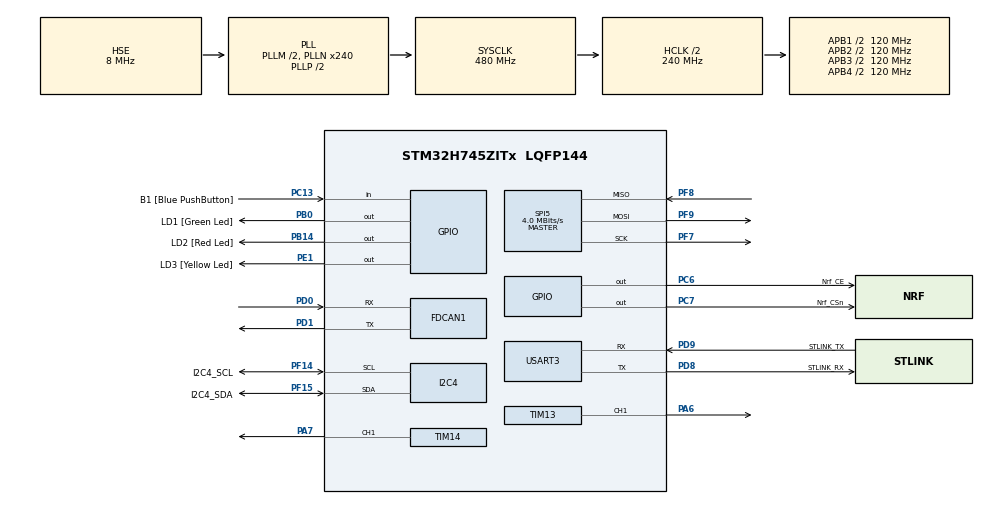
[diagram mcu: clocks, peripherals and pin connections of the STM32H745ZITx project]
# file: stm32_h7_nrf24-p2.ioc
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CortexM4.IPs=BDMA,CORTEX_M4\:I,DEBUG,DMA,FATFS_M4\:I,FREERTOS_M4\:I,GPIO,IWDG2\:I,MDMA,NVIC2\:I,OPENAMP_M4\:I,PDM2PCM_M4\:I,PWR,RCC,RESMGR_UTILITY,SYS_M4\:I,USB_DEVICE_M4\:I,USB_HOST_M4\:I,VREFBUF,WWDG2\:I,USART3
CortexM4.Pins=PE1
CortexM7.IPs=BDMA\:I,CORTEX_M7\:I,DEBUG\:I,DMA\:I,FATFS_M7\:I,FREERTOS_M7\:I,GPIO\:I,IWDG1\:I,MDMA\:I,NVIC1\:I,OPENAMP_M7\:I,PDM2PCM_M7\:I,PWR\:I,RCC\:I,RESMGR_UTILITY\:I,SYS\:I,USB_DEVICE_M7\:I,USB_HOST_M7\:I,VREFBUF\:I,WWDG1\:I,USART3\:I,I2C4\:I,SPI5\:I,TIM13\:I,TIM14\:I,FDCAN1\:I
CortexM7.Pins=PC13,PB0,PB14,PC6,PC7
FDCAN1.CalculateBaudRateNominal=500000
FDCAN1.CalculateTimeBitNominal=2000
FDCAN1.CalculateTimeQuantumNominal=50.0
FDCAN1.NominalPrescaler=2
FDCAN1.NominalSyncJumpWidth=8
FDCAN1.NominalTimeSeg1=0x1F
FDCAN1.NominalTimeSeg2=8
FDCAN1.RxFifo0ElmtsNbr=1
FDCAN1.StdFiltersNbr=1
FDCAN1.TxFifoQueueElmtsNbr=1
I2C4.Timing=0x00404C74
Mcu.Family=STM32H7
Mcu.Name=STM32H745ZITx
Mcu.Package=LQFP144
NVIC1.PriorityGroup=NVIC_PRIORITYGROUP_4
NVIC2.PriorityGroup=NVIC_PRIORITYGROUP_4
PA13\ (JTMS/SWDIO).Mode=Serial_Wire
PA13\ (JTMS/SWDIO).PinAttribute=CortexM7
PA13\ (JTMS/SWDIO).Signal=DEBUG_JTMS-SWDIO
PA14\ (JTCK/SWCLK).Mode=Serial_Wire
PA14\ (JTCK/SWCLK).PinAttribute=CortexM7
PA14\ (JTCK/SWCLK).Signal=DEBUG_JTCK-SWCLK
PA6.PinAttribute=CortexM7
PA6.Signal=S_TIM13_CH1
PA7.PinAttribute=CortexM7
PA7.Signal=S_TIM14_CH1
PB0.GPIO_Label=LD1 [Green Led]
PB0.PinAttribute=CortexM7
PB0.Signal=GPIO_Output
PB14.GPIO_Label=LD2 [Red Led]
PB14.PinAttribute=CortexM7
PB14.Signal=GPIO_Output
PB5.PinAttribute=CortexM7
PB5.Signal=SPI1_MOSI
PC13.GPIO_Label=B1 [Blue PushButton]
PC13.PinAttribute=CortexM7
PC13.Signal=GPIO_Input
PC14-OSC32_IN\ (OSC32_IN).Mode=LSE-External-Oscillator
PC14-OSC32_IN\ (OSC32_IN).PinAttribute=CortexM7
PC14-OSC32_IN\ (OSC32_IN).Signal=RCC_OSC32_IN
PC15-OSC32_OUT\ (OSC32_OUT).Mode=LSE-External-Oscillator
PC15-OSC32_OUT\ (OSC32_OUT).PinAttribute=CortexM7
PC15-OSC32_OUT\ (OSC32_OUT).Signal=RCC_OSC32_OUT
PC6.GPIO_Label=Nrf_CE
PC6.PinAttribute=CortexM7
PC6.Signal=GPIO_Output
PC7.GPIO_Label=Nrf_CSn
PC7.PinAttribute=CortexM7
PC7.Signal=GPIO_Output
PD0.GPIO_Speed=GPIO_SPEED_FREQ_VERY_HIGH
PD0.Mode=FDCAN_Activate
PD0.PinAttribute=CortexM7
PD0.Signal=FDCAN1_RX
PD1.GPIO_PuPd=GPIO_PULLUP
PD1.GPIO_Speed=GPIO_SPEED_FREQ_VERY_HIGH
PD1.Mode=FDCAN_Activate
PD1.PinAttribute=CortexM7
PD1.Signal=FDCAN1_TX
PD8.GPIO_Label=STLINK_RX
PD8.Mode=Asynchronous
PD8.PinAttribute=CortexM7
PD8.Signal=USART3_TX
PD9.GPIO_Label=STLINK_TX
PD9.Mode=Asynchronous
PD9.PinAttribute=CortexM7
PD9.Signal=USART3_RX
PE1.GPIO_Label=LD3 [Yellow Led]
PE1.PinAttribute=CortexM4
PE1.Signal=GPIO_Output
PF14.GPIO_Label=I2C4_SCL
PF14.Mode=I2C
PF14.PinAttribute=CortexM7
PF14.Signal=I2C4_SCL
PF15.GPIO_Label=I2C4_SDA
PF15.Mode=I2C
PF15.PinAttribute=CortexM7
PF15.Signal=I2C4_SDA
PF7.Mode=Full_Duplex_Master
PF7.PinAttribute=CortexM7
PF7.Signal=SPI5_SCK
PF8.Mode=Full_Duplex_Master
PF8.PinAttribute=CortexM7
PF8.Signal=SPI5_MISO
PF9.Mode=Full_Duplex_Master
PF9.PinAttribute=CortexM7
PF9.Signal=SPI5_MOSI
PH0-OSC_IN\ (PH0).Mode=HSE-External-Clock-Source
PH0-OSC_IN\ (PH0).PinAttribute=CortexM7
PH0-OSC_IN\ (PH0).Signal=RCC_OSC_IN
ProjectManager.HeapSize=M4-0x200,M7-0x200
ProjectManager.StackSize=M4-0x400,M7-0x400
ProjectManager.TargetToolchain=STM32CubeIDE
RCC.ADCFreq_Value=16125000
RCC.APB1Freq_Value=120000000
RCC.APB2Freq_Value=120000000
RCC.APB3Freq_Value=120000000
RCC.APB4Freq_Value=120000000
RCC.CortexFreq_Value=480000000
RCC.D1PPRE=RCC_APB3_DIV2
RCC.D2PPRE1=RCC_APB1_DIV2
RCC.D2PPRE2=RCC_APB2_DIV2
RCC.D3PPRE=RCC_APB4_DIV2
RCC.DIVM1=2
RCC.DIVM3=4
RCC.DIVN1=240
RCC.DIVN3=120
RCC.DIVQ1=24
RCC.DIVR3=12
RCC.HCLKFreq_Value=240000000
RCC.HPRE=RCC_HCLK_DIV2
RCC.HSE_VALUE=8000000
RCC.I2C4CLockSelection=RCC_I2C4CLKSOURCE_PLL3
RCC.PLLSourceVirtual=RCC_PLLSOURCE_HSE
RCC.SPI123CLockSelection=RCC_SPI123CLKSOURCE_CLKP
RCC.SYSCLKFreq_VALUE=480000000
RCC.SYSCLKSource=RCC_SYSCLKSOURCE_PLLCLK
RCC.Spi45ClockSelection=RCC_SPI45CLKSOURCE_HSI
RCC.USBFreq_Value=40000000
SH.S_TIM13_CH1.0=TIM13_CH1,PWM Generation1 CH1
SH.S_TIM14_CH1.0=TIM14_CH1,PWM Generation1 CH1
SPI5.BaudRatePrescaler=SPI_BAUDRATEPRESCALER_16
SPI5.CalculateBaudRate=4.0 MBits/s
SPI5.DataSize=SPI_DATASIZE_8BIT
SPI5.Direction=SPI_DIRECTION_2LINES
SPI5.Mode=SPI_MODE_MASTER
SPI5.VirtualType=VM_MASTER
SYS.userName=SYS_M7
TIM13.Channel=TIM_CHANNEL_1
TIM13.Period=19999
TIM13.Prescaler=239
TIM13.Pulse=1500
TIM14.Channel=TIM_CHANNEL_1
TIM14.Period=19999
TIM14.Prescaler=239
TIM14.Pulse=1500
USART3.VirtualMode-Asynchronous=VM_ASYNC
VP_SYS_M4_VS_Systick.Mode=SysTick
VP_TIM13_VS_ClockSourceINT.Mode=Enable_Timer
VP_TIM14_VS_ClockSourceINT.Mode=Enable_Timer
board=custom

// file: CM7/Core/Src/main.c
/* USER CODE BEGIN Header */
/**
 *IMPLEMENTACION
  **********
  * @file           : main.c
  * @brief          : Main program body
  **********
  * @attention
  *
  * Copyright (c) 2024 STMicroelectronics.
  * All rights reserved.
  *
  * This software is licensed under terms that can be found in the LICENSE file
  * in the root directory of this software component.
  * If no LICENSE file comes with this software, it is provided AS-IS.
  *
  **********
  */
/* USER CODE END Header */
#include "main.h"
#include <stdio.h>
#include "my_nrf24.h"
#include <stdbool.h>
#include <mpu6050.h>
#include "nRF24L01.h"

/* USER CODE BEGIN PD */

#ifndef HSEM_ID_0
#define HSEM_ID_0 (0U) /* HW semaphore 0 */
#define Nrf_CE GPIO_PIN_6  // Pin PC6 para NRF_CE
#define Nrf_CSn GPIO_PIN_7 // Pin PC7 para NRF_CSN
#endif
/* USER CODE END PD */

// Periféricos
FDCAN_HandleTypeDef hfdcan1;
I2C_HandleTypeDef hi2c4;
SPI_HandleTypeDef hspi5;
TIM_HandleTypeDef htim13;
TIM_HandleTypeDef htim14;
UART_HandleTypeDef huart3;

/* USER CODE BEGIN PV */

// NRF24L01
const uint64_t pipe_address = 0x11223344AALL;
char myRxDataNRF[50];
uint8_t bufferNRF[6];
char myAckPayload[32] = "Ack by STMF7!";
uint16_t coordX = 0;
uint16_t coordY = 0;
int16_t angle = 0;
uint16_t targetX = 100;
uint16_t targetY = 75;

// CAN
FDCAN_FilterTypeDef sFilterConfig;
FDCAN_TxHeaderTypeDef TxHeader;
FDCAN_RxHeaderTypeDef RxHeader;
uint8_t TxDataCAN[8] = {0};
uint8_t RxDataCAN[8];
uint8_t buzzer = 0; // Estado del buzzer
uint8_t Vuel = 0;
float vueltas = 0.0f;
bool direccion = false;

/* USER CODE END PV */

void SystemClock_Config(void);
static void MX_GPIO_Init(void);
static void MX_USART3_UART_Init(void);
static void MX_I2C4_Init(void);
static void MX_SPI5_Init(void);
static void MX_TIM13_Init(void);
static void MX_TIM14_Init(void);
static void MX_FDCAN1_Init(void);

/* USER CODE BEGIN PFP */

// Configuración y manejo del MPU6050
//void SetupMPU(void);

// Configuración y manejo del NRF24L01
void SetupNRF24(void);
void ProcessNRF24Data(void);

// Configuración y manejo del protocolo CAN
void ProcessCANMessage(void);
void SendCANMessage(uint8_t state);

// Control del motor y dirección
void SetupPWM(void);
void SetMotorSpeed(uint16_t pulseWidth);
void BrakeMotor(void);
void Turning_SetAngle(uint16_t angle);

// Rutinas de control
void RutaHardCoding(void);
void NRF24Motor(void);
void NRFMotorCAN(void);
void RPMCAN(void);
void RutaRPM(void);

/* USER CODE END PFP */

/* USER CODE BEGIN 0 */

/**
 * @brief Configuración inicial del MPU6050
 */
void SetupMPU(void) {
    mpu6050_init(&hi2c4, AD0_LOW, AFSR_2G, GFSR_250DPS, 0.98, 0.004);
//    MPU_calibrateAccel(&hi2c4, 1000); // Calibrar acelerómetro
//    MPU_calibrateGyro(&hi2c4, 1000);  // Calibrar giroscopio
}

/**
 * @brief Configuración inicial del NRF24L01
 */
void SetupNRF24(){
	NRF24_begin(GPIOC, Nrf_CSn_Pin, Nrf_CE_Pin, hspi5);
	nrf24_DebugUART_Init(huart3);
	NRF24_openReadingPipe(1, pipe_address);
	NRF24_setAutoAck(false);
	NRF24_setChannel(60);
	NRF24_setPayloadSize(32);
	NRF24_setDataRate(RF24_2MBPS);
	NRF24_enableDynamicPayloads();
	NRF24_enableAckPayload();
	printRadioSettings();
	NRF24_startListening();
	printf("Starting NRF24\r\n");
}

/**
 * @brief Procesa los datos recibidos por NRF24L01
 */
void ProcessNRF24Data() {
    char myRxData[50] = "";
    if (NRF24_available()) {
        NRF24_read(bufferNRF, 6);
        if (bufferNRF[0] == 0xFF && bufferNRF[1] == 0xFF) {
            snprintf(myRxData, 32, "Coordinates not found\r\n");
        }
        else {
        	coordX = (bufferNRF[0]<<8|bufferNRF[1]);
        	coordY = (bufferNRF[2]<<8|bufferNRF[3]);
        	angle  = (int16_t)(bufferNRF[4]<<8|bufferNRF[5]);
        	if (angle > 180) angle -= 360;
        	snprintf(myRxData, 32, "%u %u %d \r\n", coordX, coordY, angle);
        }
        NRF24_writeAckPayload(1, myAckPayload, 32);
        HAL_UART_Transmit(&huart3, (uint8_t *)myRxData, strlen(myRxData), 10);
    }
}

/**
 * @brief Procesa los mensajes recibidos por el protocolo CAN
 */
void ProcessCANMessage() {
    if (HAL_FDCAN_GetRxMessage(&hfdcan1, FDCAN_RX_FIFO0, &RxHeader, RxDataCAN) == HAL_OK) {
        //printf("\n\rSTM32 - Mensaje CAN recibido:\n\r");
        //printf("ID: 0x%lx, Longitud: %ld bytes\n\r", RxHeader.Identifier, RxHeader.DataLength >> 16);
        //printf("Datos: ");

        if (RxHeader.Identifier == 0x100) {
            //printf("\n\rMensaje recibido de Arduino: ");
        }
        for (uint8_t i = 0; i < 8; i++) {
            //printf("%02X ", RxDataCAN[i]);
        }

        if (RxDataCAN[4]==0x01){
        	buzzer = 1;
        }else{
        	buzzer = 0;
        }

        // Interpretar las vueltas como un float
		union {
			float valueFloat;
			uint8_t valueInt[4];
		} conversion;

		conversion.valueInt[0] = RxDataCAN[0];
		conversion.valueInt[1] = RxDataCAN[1];
		conversion.valueInt[2] = RxDataCAN[2];
		conversion.valueInt[3] = RxDataCAN[3];

		vueltas = conversion.valueFloat;

        //printf("\n\rSTM32 - Mensaje recibido correctamente.\n\r");

        HAL_GPIO_TogglePin(LD1_GPIO_Port, LD1_Pin); // Indicar recepción
        //printf("Vueltas: %.4f\n\r", vueltas);
    } else {
        //printf("Esperando mensajes CAN...\n\r");
    }
}

/**
 * @brief Envia los mensajes por protocolo CAN
 */
void SendCANMessage(uint8_t state){
	TxDataCAN[0] = state;
	if (HAL_FDCAN_AddMessageToTxFifoQ(&hfdcan1, &TxHeader, TxDataCAN) != HAL_OK) {
	        //printf("Error enviando mensaje CAN\r\n");
	    } else {

	    	//printf("Mensaje CAN enviado: Buzzer %s\r\n", state ? "Activado" : "Apagado");
	    }

    //printf("Contenido de TxDataCAN: ");
    for (int i = 0; i < 8; i++) { //  Asumir que el tamaño del mensaje es 8 bytes
        //printf("0x%02X ", TxDataCAN[i]);
    }
    //printf("\n\r");

}

/**
 * @brief Configuración inicial del PWM
 */
void SetupPWM(void) {
    // Iniciar el PWM en el canal 1 de TIM13
    if (HAL_TIM_PWM_Start(&htim13, TIM_CHANNEL_1) != HAL_OK) {
        Error_Handler(); // Error al iniciar PWM en TIM13
    }

    // Iniciar el PWM en el canal 1 de TIM14
    if (HAL_TIM_PWM_Start(&htim14, TIM_CHANNEL_1) != HAL_OK) {
        Error_Handler(); // Error al iniciar PWM en TIM14
    }
}

/**
 * @brief Ajusta la velocidad del motor
 */
void SetMotorSpeed(uint16_t pulseWidth) {
    __HAL_TIM_SET_COMPARE(&htim14, TIM_CHANNEL_1, pulseWidth);
}

/**
 * @brief Frena el motor
 */
void BrakeMotor(void) {
    SetMotorSpeed(1500);
}

/**
 * @brief Ajusta el ángulo de dirección
 * Limites:
 *  	Derecha:170
 *  	Izquierda: 10
 *  	Centro: 90
 */
void Turning_SetAngle(uint16_t angle) {
    uint32_t pulseWidth = 1000 + (angle*1000) / 180;

    __HAL_TIM_SET_COMPARE(&htim13, TIM_CHANNEL_1, pulseWidth);
}

/**
 * @brief Rutina codificada para probar segmentos de ruta
 */
void RutaHardCoding(){
	BrakeMotor();
	printf("primer segmento\n");
	Turning_SetAngle(90);
	SetMotorSpeed(1220); 		 // Velocidad primer segmento
	HAL_Delay(2000);	  		 // Tiempo primer segmento

	BrakeMotor();
	for (int i = 0; i < 100; i++){
		ProcessCANMessage();
	}
	HAL_Delay(5000);

	printf("primera vuelta\n");
	Turning_SetAngle(160);

	// Tiempo total: 10.5 segundos
	const int totalTime = 2000;   // Tiempo total en milisegundos
	const int sectionTime = 1000; // Duración de cada sección (2 segundos)
	const int numSections = totalTime / sectionTime; // Número de secciones

	for (int i = 0; i < numSections; i++) {
		SetMotorSpeed(1000);
		HAL_Delay(sectionTime); // Ejecutar sección
		SetMotorSpeed(1500);       // Detener motor durante el tiempo de espera
		for (int i = 0; i < 100; i++){
			ProcessCANMessage();
		}
		HAL_Delay(5000);    // Espera
	}

	printf("segundo segmento\n");
	Turning_SetAngle(90);
	SetMotorSpeed(1220);		 // Velocidad segundo segmento
	HAL_Delay(1500);	// Tiempo segundo segmento

	for (int i = 0; i < 100; i++){
		ProcessCANMessage();
	}

	SetMotorSpeed(1500);
	HAL_Delay(10000);
}

/**
 * @brief Rutina codificada para probar segmentos de ruta
 */
void NRFMotorCAN(){

	ProcessNRF24Data();
	ProcessCANMessage();
//	RutaRPM();

	if((abs(coordX - targetX) <= 10 && abs(coordY - targetY) <= 10) || vueltas > 4){
		BrakeMotor();
		SendCANMessage(1);
		while(buzzer == 0){
			ProcessCANMessage();
			ProcessNRF24Data();
			//printf("ciclo while");
		}
		SendCANMessage(0);
	}else{
		SendCANMessage(0);
		double targetAngle = atan2(targetY - coordY, targetX - coordX);
		targetAngle = round(targetAngle * 180.0 / M_PI); // Convertimos radianes a grados

		//printf("Target Angle: %lf degrees\n", targetAngle);

		double angleError = targetAngle - (double)(angle);

		//printf("Angle Error: %lf degrees\n", angleError);

		targetAngle = 90 - angleError;
		if(targetAngle > 150) targetAngle = 150;
		if(targetAngle < 30) targetAngle = 30;

		// Ajusta el ángulo del carro

		Turning_SetAngle(targetAngle);

		SetMotorSpeed(1220);

		//printf("Servo Angle: %lf degrees\n", targetAngle);
		//MPU_readProcessedData(&hi2c4);

	}
}
//RUTA FINAL
void NRFMotorEncoderCAN(){
	uint8_t segmento = 0;
	uint8_t state = 0;
	float posiciones[] = {
	        1,   // Primer avance
	        5,   // Primera vuelta
	        8.5,   // Segunda vuelta
	        11  // Segundo avance
	};

	uint8_t targetsX[] = {230,155,125,125};
	uint8_t targetsY[] = {75,25,75,120};

	while (segmento < 5){
		ProcessNRF24Data();
		ProcessCANMessage();
		if((abs(coordX - targetsX[segmento]) <= 10 && abs(coordY - targetsY[segmento]) <= 10) || vueltas >= posiciones[segmento]){
			BrakeMotor();
			if (state == 0){
				state = 1;
				SendCANMessage(state);
			}
			while(buzzer == 0){
				ProcessCANMessage();
			}
			HAL_Delay(1000);
			ProcessNRF24Data();
			HAL_Delay(1000);
			segmento++;
			if (state == 1){
				state = 0;
				SendCANMessage(state);
			}
		}else{
			if (state == 1){
				state = 0;
				SendCANMessage(state);
			}
			double targetAngle = atan2(targetsY[segmento] - coordY, targetsX[segmento] - coordX);
			targetAngle = round(targetAngle * 180.0 / M_PI); // Convertimos radianes a grados

			double angleError = targetAngle - (double)(angle);

			targetAngle = 90 - angleError;
			if(targetAngle > 160) targetAngle = 160;
			if(targetAngle < 20) targetAngle = 20;

			Turning_SetAngle(targetAngle);
			if (targetAngle <= 60 || targetAngle >= 120 ){
				SetMotorSpeed(1100);
			}else{
				SetMotorSpeed(1300);
			}

		}
	}
}

void MotorEncoderCAN(){
	uint8_t segmento = 0;
	float posiciones[] = {
	        1,   // Primer avance
	        5,   // Primera vuelta
	        8.5,   // Segunda vuelta
	        11,
			15,
			18.5,
			21
	};

	uint8_t state = 0;

	while (segmento < 4){
		ProcessCANMessage();
		printf("Segmento: %u\r\n", segmento);
		if(vueltas >= posiciones[segmento]){
			BrakeMotor();
			if (state == 0){
				state = 1;
				SendCANMessage(state);
			}
			while(buzzer == 0){
				ProcessCANMessage();
			}
			HAL_Delay(3000);
			segmento++;
			if (state == 1){
				state = 0;
				SendCANMessage(state);
			}
		}else{
			if (state == 1){
				state = 0;
				SendCANMessage(state);
			}
			if(segmento == 1 || segmento == 2){
				Turning_SetAngle(160);
				SetMotorSpeed(1100);
				printf("Vuelta\r\n");
			} else {
				Turning_SetAngle(90);
				SetMotorSpeed(1300);
				printf("Recto\r\n");
			}

		}
	}
}

/* USER CODE END 0 */

int main(void){
/* USER CODE BEGIN Boot_Mode_Sequence_0 */
  int32_t timeout;
/* USER CODE END Boot_Mode_Sequence_0 */

/* USER CODE BEGIN Boot_Mode_Sequence_1 */
  /* Wait until CPU2 boots and enters in stop mode or timeout*/
  timeout = 0xFFFF;
  while((__HAL_RCC_GET_FLAG(RCC_FLAG_D2CKRDY) != RESET) && (timeout-- > 0));
  if ( timeout < 0 )
  {
  Error_Handler();
  }
/* USER CODE END Boot_Mode_Sequence_1 */
  /* MCU Configuration--------------------------------------------------------*/

  /* Reset of all peripherals, Initializes the Flash interface and the Systick. */
  HAL_Init();
  SystemClock_Config();
/* USER CODE BEGIN Boot_Mode_Sequence_2 */
/* When system initialization is finished, Cortex-M7 will release Cortex-M4 by means of
HSEM notification */
//HW semaphore Clock enable/
__HAL_RCC_HSEM_CLK_ENABLE();
/*Take HSEM */
HAL_HSEM_FastTake(HSEM_ID_0);
//Release HSEM in order to notify the CPU2(CM4)/
HAL_HSEM_Release(HSEM_ID_0,0);
/* wait until CPU2 wakes up from stop mode */
timeout = 0xFFFF;
while((__HAL_RCC_GET_FLAG(RCC_FLAG_D2CKRDY) == RESET) && (timeout-- > 0));
if ( timeout < 0 )
{
Error_Handler();
}
/* USER CODE END Boot_Mode_Sequence_2 */

  /* Initialize all configured peripherals */
  MX_GPIO_Init();
  MX_USART3_UART_Init();
  MX_I2C4_Init();
  MX_SPI5_Init();
  MX_TIM13_Init();
  MX_TIM14_Init();
  MX_FDCAN1_Init();

  FDCAN_FilterTypeDef filterConfig;
  filterConfig.IdType = FDCAN_STANDARD_ID;
  filterConfig.FilterIndex = 0;
  filterConfig.FilterType = FDCAN_FILTER_MASK;
  filterConfig.FilterConfig = FDCAN_FILTER_TO_RXFIFO0;
  filterConfig.FilterID1 = 0x100;   // ID exacto que queremos aceptar
  filterConfig.FilterID2 = 0x7FF;   // Mascara para aceptar solo el ID exacto
  if (HAL_FDCAN_ConfigFilter(&hfdcan1, &filterConfig) != HAL_OK) {
      Error_Handler();
  }

  printf("Welcome to the CANbus and Motor Control System!!!\n\r");
  SetupNRF24();
  SetupPWM();

//  NRFMotorCAN();
//  SetupMPU();
  //RutaHardCoding();
  //MotorEncoderCAN();
  HAL_Delay(5000);
  NRFMotorEncoderCAN();

  while (1){
	  // Probar las rutinas

	  //NRFMotorCAN();
	  //RutaHardCoding();

//	  HAL_Delay(100);
//	  ProcessNRF24Data();
  }
}

void SystemClock_Config(void)
{
  RCC_OscInitTypeDef RCC_OscInitStruct = {0};
  RCC_ClkInitTypeDef RCC_ClkInitStruct = {0};

  /** Supply configuration update enable
  */
  HAL_PWREx_ConfigSupply(PWR_DIRECT_SMPS_SUPPLY);

  /** Configure the main internal regulator output voltage
  */
  __HAL_PWR_VOLTAGESCALING_CONFIG(PWR_REGULATOR_VOLTAGE_SCALE0);

  while(!__HAL_PWR_GET_FLAG(PWR_FLAG_VOSRDY)) {}

  /** Macro to configure the PLL clock source
  */
  __HAL_RCC_PLL_PLLSOURCE_CONFIG(RCC_PLLSOURCE_HSE);

  /** Initializes the RCC Oscillators according to the specified parameters
  * in the RCC_OscInitTypeDef structure.
  */
  RCC_OscInitStruct.OscillatorType = RCC_OSCILLATORTYPE_HSI|RCC_OSCILLATORTYPE_HSE;
  RCC_OscInitStruct.HSEState = RCC_HSE_BYPASS;
  RCC_OscInitStruct.HSIState = RCC_HSI_DIV1;
  RCC_OscInitStruct.HSICalibrationValue = RCC_HSICALIBRATION_DEFAULT;
  RCC_OscInitStruct.PLL.PLLState = RCC_PLL_ON;
  RCC_OscInitStruct.PLL.PLLSource = RCC_PLLSOURCE_HSE;
  RCC_OscInitStruct.PLL.PLLM = 2;
  RCC_OscInitStruct.PLL.PLLN = 240;
  RCC_OscInitStruct.PLL.PLLP = 2;
  RCC_OscInitStruct.PLL.PLLQ = 24;
  RCC_OscInitStruct.PLL.PLLR = 2;
  RCC_OscInitStruct.PLL.PLLRGE = RCC_PLL1VCIRANGE_2;
  RCC_OscInitStruct.PLL.PLLVCOSEL = RCC_PLL1VCOWIDE;
  RCC_OscInitStruct.PLL.PLLFRACN = 0;
  if (HAL_RCC_OscConfig(&RCC_OscInitStruct) != HAL_OK)
  {
    Error_Handler();
  }

  /** Initializes the CPU, AHB and APB buses clocks
  */
  RCC_ClkInitStruct.ClockType = RCC_CLOCKTYPE_HCLK|RCC_CLOCKTYPE_SYSCLK
                              |RCC_CLOCKTYPE_PCLK1|RCC_CLOCKTYPE_PCLK2
                              |RCC_CLOCKTYPE_D3PCLK1|RCC_CLOCKTYPE_D1PCLK1;
  RCC_ClkInitStruct.SYSCLKSource = RCC_SYSCLKSOURCE_PLLCLK;
  RCC_ClkInitStruct.SYSCLKDivider = RCC_SYSCLK_DIV1;
  RCC_ClkInitStruct.AHBCLKDivider = RCC_HCLK_DIV2;
  RCC_ClkInitStruct.APB3CLKDivider = RCC_APB3_DIV2;
  RCC_ClkInitStruct.APB1CLKDivider = RCC_APB1_DIV2;
  RCC_ClkInitStruct.APB2CLKDivider = RCC_APB2_DIV2;
  RCC_ClkInitStruct.APB4CLKDivider = RCC_APB4_DIV2;

  if (HAL_RCC_ClockConfig(&RCC_ClkInitStruct, FLASH_LATENCY_4) != HAL_OK)
  {
    Error_Handler();
  }
}

static void MX_FDCAN1_Init(void)
{

  hfdcan1.Instance = FDCAN1;
  hfdcan1.Init.FrameFormat = FDCAN_FRAME_CLASSIC;
  hfdcan1.Init.Mode = FDCAN_MODE_NORMAL;
  hfdcan1.Init.AutoRetransmission = DISABLE;
  hfdcan1.Init.TransmitPause = DISABLE;
  hfdcan1.Init.ProtocolException = DISABLE;
  hfdcan1.Init.NominalPrescaler = 2;
  hfdcan1.Init.NominalSyncJumpWidth = 8;
  hfdcan1.Init.NominalTimeSeg1 = 0x1F;
  hfdcan1.Init.NominalTimeSeg2 = 8;
  hfdcan1.Init.DataPrescaler = 1;
  hfdcan1.Init.DataSyncJumpWidth = 1;
  hfdcan1.Init.DataTimeSeg1 = 1;
  hfdcan1.Init.DataTimeSeg2 = 1;
  hfdcan1.Init.MessageRAMOffset = 0;
  hfdcan1.Init.StdFiltersNbr = 1;
  hfdcan1.Init.ExtFiltersNbr = 0;
  hfdcan1.Init.RxFifo0ElmtsNbr = 1;
  hfdcan1.Init.RxFifo0ElmtSize = FDCAN_DATA_BYTES_8;
  hfdcan1.Init.RxFifo1ElmtsNbr = 0;
  hfdcan1.Init.RxFifo1ElmtSize = FDCAN_DATA_BYTES_8;
  hfdcan1.Init.RxBuffersNbr = 0;
  hfdcan1.Init.RxBufferSize = FDCAN_DATA_BYTES_8;
  hfdcan1.Init.TxEventsNbr = 0;
  hfdcan1.Init.TxBuffersNbr = 0;
  hfdcan1.Init.TxFifoQueueElmtsNbr = 1;
  hfdcan1.Init.TxFifoQueueMode = FDCAN_TX_FIFO_OPERATION;
  hfdcan1.Init.TxElmtSize = FDCAN_DATA_BYTES_8;
  if (HAL_FDCAN_Init(&hfdcan1) != HAL_OK)
  {
    Error_Handler();
  }
  /* USER CODE BEGIN FDCAN1_Init 2 */

  // PARTE DE CAN ---------------------------------------------------------------------------

  //AAO+/
   /* Configure Rx filter */
    sFilterConfig.IdType = FDCAN_STANDARD_ID;
    sFilterConfig.FilterIndex = 0;
    sFilterConfig.FilterType = FDCAN_FILTER_MASK;
    sFilterConfig.FilterConfig = FDCAN_FILTER_TO_RXFIFO0;
    sFilterConfig.FilterID1 = 0x000;
    sFilterConfig.FilterID2 = 0x000;

    /* Configure global filter to reject all non-matching frames */
      HAL_FDCAN_ConfigGlobalFilter(&hfdcan1, FDCAN_REJECT, FDCAN_REJECT, FDCAN_REJECT_REMOTE, FDCAN_REJECT_REMOTE);

      if (HAL_FDCAN_ConfigFilter(&hfdcan1, &sFilterConfig) != HAL_OK)
        {
           /* Filter configuration Error */
           Error_Handler();
        }
       /* Start the FDCAN module */
      if (HAL_FDCAN_Start(&hfdcan1) != HAL_OK) {
        }
           /* Start Error */
      if (HAL_FDCAN_ActivateNotification(&hfdcan1, FDCAN_IT_RX_FIFO0_NEW_MESSAGE, 0) != HAL_OK) {
        }
           /* Notification Error */

       /* Configure Tx buffer message */
      TxHeader.Identifier = 0x111;
      TxHeader.IdType = FDCAN_STANDARD_ID;
      TxHeader.TxFrameType = FDCAN_DATA_FRAME;
      TxHeader.DataLength = FDCAN_DLC_BYTES_12;
      TxHeader.ErrorStateIndicator = FDCAN_ESI_ACTIVE;
      TxHeader.BitRateSwitch = FDCAN_BRS_ON;
      TxHeader.FDFormat = FDCAN_FD_CAN;
      TxHeader.TxEventFifoControl = FDCAN_NO_TX_EVENTS;
      TxHeader.MessageMarker = 0x00;
     //AAO-/
// PARTE DE CAN -----------------------------------------------------------------------------

  /* USER CODE END FDCAN1_Init 2 */

}

static void MX_I2C4_Init(void)
{

  hi2c4.Instance = I2C4;
  hi2c4.Init.Timing = 0x00404C74;
  hi2c4.Init.OwnAddress1 = 0;
  hi2c4.Init.AddressingMode = I2C_ADDRESSINGMODE_7BIT;
  hi2c4.Init.DualAddressMode = I2C_DUALADDRESS_DISABLE;
  hi2c4.Init.OwnAddress2 = 0;
  hi2c4.Init.OwnAddress2Masks = I2C_OA2_NOMASK;
  hi2c4.Init.GeneralCallMode = I2C_GENERALCALL_DISABLE;
  hi2c4.Init.NoStretchMode = I2C_NOSTRETCH_DISABLE;
  if (HAL_I2C_Init(&hi2c4) != HAL_OK)
  {
    Error_Handler();
  }

  /** Configure Analogue filter
  */
  if (HAL_I2CEx_ConfigAnalogFilter(&hi2c4, I2C_ANALOGFILTER_ENABLE) != HAL_OK)
  {
    Error_Handler();
  }

  /** Configure Digital filter
  */
  if (HAL_I2CEx_ConfigDigitalFilter(&hi2c4, 0) != HAL_OK)
  {
    Error_Handler();
  }

}

static void MX_SPI5_Init(void)
{

  /* SPI5 parameter configuration*/
  hspi5.Instance = SPI5;
  hspi5.Init.Mode = SPI_MODE_MASTER;
  hspi5.Init.Direction = SPI_DIRECTION_2LINES;
  hspi5.Init.DataSize = SPI_DATASIZE_8BIT;
  hspi5.Init.CLKPolarity = SPI_POLARITY_LOW;
  hspi5.Init.CLKPhase = SPI_PHASE_1EDGE;
  hspi5.Init.NSS = SPI_NSS_SOFT;
  hspi5.Init.BaudRatePrescaler = SPI_BAUDRATEPRESCALER_16;
  hspi5.Init.FirstBit = SPI_FIRSTBIT_MSB;
  hspi5.Init.TIMode = SPI_TIMODE_DISABLE;
  hspi5.Init.CRCCalculation = SPI_CRCCALCULATION_DISABLE;
  hspi5.Init.CRCPolynomial = 0x0;
  hspi5.Init.NSSPMode = SPI_NSS_PULSE_ENABLE;
  hspi5.Init.NSSPolarity = SPI_NSS_POLARITY_LOW;
  hspi5.Init.FifoThreshold = SPI_FIFO_THRESHOLD_01DATA;
  hspi5.Init.TxCRCInitializationPattern = SPI_CRC_INITIALIZATION_ALL_ZERO_PATTERN;
  hspi5.Init.RxCRCInitializationPattern = SPI_CRC_INITIALIZATION_ALL_ZERO_PATTERN;
  hspi5.Init.MasterSSIdleness = SPI_MASTER_SS_IDLENESS_00CYCLE;
  hspi5.Init.MasterInterDataIdleness = SPI_MASTER_INTERDATA_IDLENESS_00CYCLE;
  hspi5.Init.MasterReceiverAutoSusp = SPI_MASTER_RX_AUTOSUSP_DISABLE;
  hspi5.Init.MasterKeepIOState = SPI_MASTER_KEEP_IO_STATE_DISABLE;
  hspi5.Init.IOSwap = SPI_IO_SWAP_DISABLE;
  if (HAL_SPI_Init(&hspi5) != HAL_OK)
  {
    Error_Handler();
  }

}

static void MX_TIM13_Init(void)
{

  TIM_OC_InitTypeDef sConfigOC = {0};

  htim13.Instance = TIM13;
  htim13.Init.Prescaler = 239;
  htim13.Init.CounterMode = TIM_COUNTERMODE_UP;
  htim13.Init.Period = 19999;
  htim13.Init.ClockDivision = TIM_CLOCKDIVISION_DIV1;
  htim13.Init.AutoReloadPreload = TIM_AUTORELOAD_PRELOAD_DISABLE;
  if (HAL_TIM_Base_Init(&htim13) != HAL_OK)
  {
    Error_Handler();
  }
  if (HAL_TIM_PWM_Init(&htim13) != HAL_OK)
  {
    Error_Handler();
  }
  sConfigOC.OCMode = TIM_OCMODE_PWM1;
  sConfigOC.Pulse = 1500;
  sConfigOC.OCPolarity = TIM_OCPOLARITY_HIGH;
  sConfigOC.OCFastMode = TIM_OCFAST_DISABLE;
  if (HAL_TIM_PWM_ConfigChannel(&htim13, &sConfigOC, TIM_CHANNEL_1) != HAL_OK)
  {
    Error_Handler();
  }
  HAL_TIM_MspPostInit(&htim13);

}

static void MX_TIM14_Init(void)
{

  TIM_OC_InitTypeDef sConfigOC = {0};

  htim14.Instance = TIM14;
  htim14.Init.Prescaler = 239;
  htim14.Init.CounterMode = TIM_COUNTERMODE_UP;
  htim14.Init.Period = 19999;
  htim14.Init.ClockDivision = TIM_CLOCKDIVISION_DIV1;
  htim14.Init.AutoReloadPreload = TIM_AUTORELOAD_PRELOAD_DISABLE;
  if (HAL_TIM_Base_Init(&htim14) != HAL_OK)
  {
    Error_Handler();
  }
  if (HAL_TIM_PWM_Init(&htim14) != HAL_OK)
  {
    Error_Handler();
  }
  sConfigOC.OCMode = TIM_OCMODE_PWM1;
  sConfigOC.Pulse = 1500;
  sConfigOC.OCPolarity = TIM_OCPOLARITY_HIGH;
  sConfigOC.OCFastMode = TIM_OCFAST_DISABLE;
  if (HAL_TIM_PWM_ConfigChannel(&htim14, &sConfigOC, TIM_CHANNEL_1) != HAL_OK)
  {
    Error_Handler();
  }
  HAL_TIM_MspPostInit(&htim14);

}

static void MX_USART3_UART_Init(void)
{

  huart3.Instance = USART3;
  huart3.Init.BaudRate = 115200;
  huart3.Init.WordLength = UART_WORDLENGTH_8B;
  huart3.Init.StopBits = UART_STOPBITS_1;
  huart3.Init.Parity = UART_PARITY_NONE;
  huart3.Init.Mode = UART_MODE_TX_RX;
  huart3.Init.HwFlowCtl = UART_HWCONTROL_NONE;
  huart3.Init.OverSampling = UART_OVERSAMPLING_16;
  huart3.Init.OneBitSampling = UART_ONE_BIT_SAMPLE_DISABLE;
  huart3.Init.ClockPrescaler = UART_PRESCALER_DIV1;
  huart3.AdvancedInit.AdvFeatureInit = UART_ADVFEATURE_NO_INIT;
  if (HAL_UART_Init(&huart3) != HAL_OK)
  {
    Error_Handler();
  }
  if (HAL_UARTEx_SetTxFifoThreshold(&huart3, UART_TXFIFO_THRESHOLD_1_8) != HAL_OK)
  {
    Error_Handler();
  }
  if (HAL_UARTEx_SetRxFifoThreshold(&huart3, UART_RXFIFO_THRESHOLD_1_8) != HAL_OK)
  {
    Error_Handler();
  }
  if (HAL_UARTEx_DisableFifoMode(&huart3) != HAL_OK)
  {
    Error_Handler();
  }

}

static void MX_GPIO_Init(void)
{
  GPIO_InitTypeDef GPIO_InitStruct = {0};

  /* GPIO Ports Clock Enable */
  __HAL_RCC_GPIOC_CLK_ENABLE();
  __HAL_RCC_GPIOF_CLK_ENABLE();
  __HAL_RCC_GPIOH_CLK_ENABLE();
  __HAL_RCC_GPIOA_CLK_ENABLE();
  __HAL_RCC_GPIOB_CLK_ENABLE();
  __HAL_RCC_GPIOD_CLK_ENABLE();

  /*Configure GPIO pin Output Level */
  HAL_GPIO_WritePin(GPIOB, LD1_Pin|LD2_Pin, GPIO_PIN_RESET);

  /*Configure GPIO pin Output Level */
  HAL_GPIO_WritePin(GPIOC, Nrf_CE_Pin|Nrf_CSn_Pin, GPIO_PIN_RESET);

  /*Configure GPIO pin : B1_Pin */
  GPIO_InitStruct.Pin = B1_Pin;
  GPIO_InitStruct.Mode = GPIO_MODE_INPUT;
  GPIO_InitStruct.Pull = GPIO_NOPULL;
  HAL_GPIO_Init(B1_GPIO_Port, &GPIO_InitStruct);

  /*Configure GPIO pins : LD1_Pin LD2_Pin */
  GPIO_InitStruct.Pin = LD1_Pin|LD2_Pin;
  GPIO_InitStruct.Mode = GPIO_MODE_OUTPUT_PP;
  GPIO_InitStruct.Pull = GPIO_NOPULL;
  GPIO_InitStruct.Speed = GPIO_SPEED_FREQ_LOW;
  HAL_GPIO_Init(GPIOB, &GPIO_InitStruct);

  /*Configure GPIO pins : Nrf_CE_Pin Nrf_CSn_Pin */
  GPIO_InitStruct.Pin = Nrf_CE_Pin|Nrf_CSn_Pin;
  GPIO_InitStruct.Mode = GPIO_MODE_OUTPUT_PP;
  GPIO_InitStruct.Pull = GPIO_NOPULL;
  GPIO_InitStruct.Speed = GPIO_SPEED_FREQ_LOW;
  HAL_GPIO_Init(GPIOC, &GPIO_InitStruct);

}

void Error_Handler(void)
{
  __disable_irq();
  while (1)
  {
  }
}
